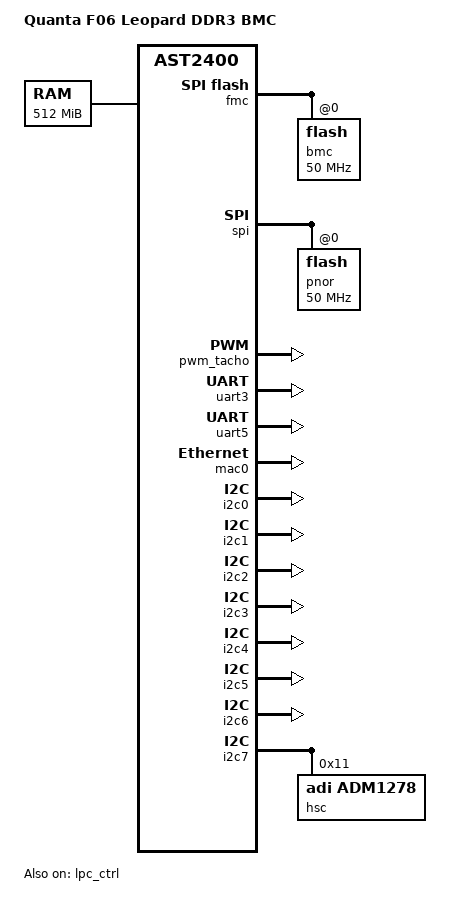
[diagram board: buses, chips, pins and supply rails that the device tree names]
// SPDX-License-Identifier: GPL-2.0+
/dts-v1/;

#include "aspeed-g4.dtsi"
#include <dt-bindings/gpio/aspeed-gpio.h>

/ {
	model = "Quanta F06 Leopard DDR3 BMC";
	compatible = "ocp,leopard-bmc", "aspeed,ast2400";

	chosen {
		stdout-path = &uart5;
		bootargs = "console=ttyS4,57600n8 earlyprintk panic=1 root=/dev/ram0 rdinit=/loader ubi.mtd=0";
	};

	memory@40000000 {
		reg = <0x40000000 0x20000000>;
	};

	// TODO(bluecmd): Remove when u-bmc sets the ilpc2ahb bits itself
	reserved-memory {
		#address-cells = <1>;
		#size-cells = <1>;
		ranges;

		flash_memory: region@98000000 {
			no-map;
			reg = <0x98000000 0x01000000>; /* 16MB */
		};
	};
};

&fmc {
	status = "okay";
	flash@0 {
		status = "okay";
		m25p,fast-read;
		label = "bmc";
		spi-max-frequency = <50000000>;
#include "ubmc-flash-layout.dtsi"
	};
};

&spi {
	status = "okay";
	pinctrl-names = "default";
	pinctrl-0 = <&pinctrl_spi1debug_default>;

	flash@0 {
		status = "okay";
		m25p,fast-read;
		spi-max-frequency = <50000000>;
		label = "pnor";
	};
};

&pinctrl {
	pinctrl-names = "default";
	pinctrl-0 = <&pinctrl_flbusy_default &pinctrl_flwp_default

			&pinctrl_vgahs_default &pinctrl_vgavs_default
			&pinctrl_ddcclk_default &pinctrl_ddcdat_default>;
};

&pwm_tacho {
	status = "okay";
	pinctrl-names = "default";
	pinctrl-0 = <&pinctrl_pwm0_default &pinctrl_pwm1_default>;
	fan@0 {
		reg = <0x00>;
		aspeed,fan-tach-ch = /bits/ 8 <0x00>;
	};
	fan@1 {
		reg = <0x01>;
		aspeed,fan-tach-ch = /bits/ 8 <0x02>;
	};
};

// /dev/ttyS2: Host's ttyS1
&uart3 {
	status = "okay";
};

// /dev/ttyS4: BMC console UART
&uart5 {
	status = "okay";
};

&mac0 {
	status = "okay";

	use-ncsi;

	pinctrl-names = "default";
	pinctrl-0 = <&pinctrl_rmii1_default>;
};

&i2c0 {
	status = "okay";
};

&i2c1 {
	status = "okay";
};

&i2c2 {
	status = "okay";
};

&i2c3 {
	status = "okay";
};

&i2c4 {
	status = "okay";
};

&i2c5 {
	status = "okay";
};

&i2c6 {
	status = "okay";
};

&i2c7 {
	status = "okay";
	hsc@11 {
		compatible = "adi,adm1278";
		reg = <0x11>;
	};
};

// TODO(bluecmd): Right now this is needed in order to enable iLPC2AHB
// for some reason. My understanding is that the FWH and L2H settings
// should not affect iLPC2AHB, but they seem to.
// Removing this stanza right now causes the BMC to not be reachable
// over iLPC2AHB.
&lpc_ctrl {
	status = "okay";
	memory-region = <&flash_memory>;
	flash = <&spi>;
};

&mbox {
	status = "okay";
};
